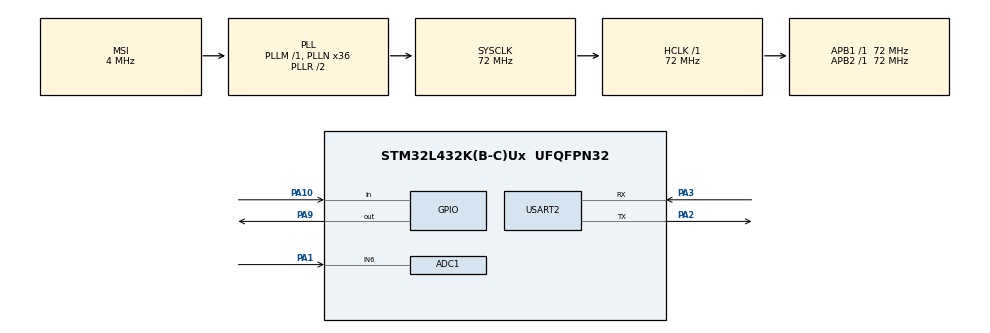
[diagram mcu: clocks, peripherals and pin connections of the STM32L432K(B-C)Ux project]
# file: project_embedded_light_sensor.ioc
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ADC1.Channel-2\#ChannelRegularConversion=ADC_CHANNEL_6
ADC1.ContinuousConvMode=DISABLE
ADC1.NbrOfConversionFlag=1
ADC1.OffsetNumber-2\#ChannelRegularConversion=ADC_OFFSET_NONE
ADC1.Rank-2\#ChannelRegularConversion=1
ADC1.SamplingTime-2\#ChannelRegularConversion=ADC_SAMPLETIME_2CYCLES_5
ADC1.master=1
Mcu.Family=STM32L4
Mcu.Name=STM32L432K(B-C)Ux
Mcu.Package=UFQFPN32
NVIC.PriorityGroup=NVIC_PRIORITYGROUP_4
PA1.Signal=ADCx_IN6
PA10.Signal=GPIO_Input
PA2.Mode=Asynchronous
PA2.Signal=USART2_TX
PA3.Mode=Asynchronous
PA3.Signal=USART2_RX
PA9.Signal=GPIO_Output
ProjectManager.HeapSize=0x200
ProjectManager.StackSize=0x400
ProjectManager.TargetToolchain=MDK-ARM V5.32
RCC.ADCFreq_Value=32000000
RCC.AHBFreq_Value=72000000
RCC.APB1Freq_Value=72000000
RCC.APB1TimFreq_Value=72000000
RCC.APB2Freq_Value=72000000
RCC.APB2TimFreq_Value=72000000
RCC.CortexFreq_Value=72000000
RCC.HCLKFreq_Value=72000000
RCC.HSE_VALUE=8000000
RCC.HSI48_VALUE=48000000
RCC.HSI_VALUE=16000000
RCC.LSE_VALUE=32768
RCC.MSI_VALUE=4000000
RCC.PLLN=36
RCC.PLLSAI1N=16
RCC.SYSCLKFreq_VALUE=72000000
RCC.SYSCLKSource=RCC_SYSCLKSOURCE_PLLCLK
RCC.USBFreq_Value=32000000
RCC.VCOOutputFreq_Value=144000000
SH.ADCx_IN6.0=ADC1_IN6,IN6-Single-Ended
USART2.VirtualMode-Asynchronous=VM_ASYNC
VP_TIM2_VS_ClockSourceINT.Mode=Internal
board=custom

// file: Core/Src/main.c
/* USER CODE BEGIN Header */
/**
  ******************************************************************************
  * @file           : main.c
  * @brief          : Main program body
  ******************************************************************************
  * @attention
  *
  * <h2><center>&copy; Copyright (c) 2022 STMicroelectronics.
  * All rights reserved.</center></h2>
  *
  * This software component is licensed by ST under BSD 3-Clause license,
  * the "License"; You may not use this file except in compliance with the
  * License. You may obtain a copy of the License at:
  *                        opensource.org/licenses/BSD-3-Clause
  *
  ******************************************************************************
  */
/* USER CODE END Header */
#include "main.h"

/* USER CODE BEGIN Includes */
#include<stdio.h>
/* USER CODE END Includes */

ADC_HandleTypeDef hadc1;

TIM_HandleTypeDef htim2;

UART_HandleTypeDef huart2;

void SystemClock_Config(void);
static void MX_GPIO_Init(void);
static void MX_ADC1_Init(void);
static void MX_TIM2_Init(void);
static void MX_USART2_UART_Init(void);

int main(void)
{

  /* MCU Configuration--------------------------------------------------------*/

  /* Reset of all peripherals, Initializes the Flash interface and the Systick. */
  HAL_Init();

  /* Configure the system clock */
  SystemClock_Config();

  /* Initialize all configured peripherals */
  MX_GPIO_Init();
  MX_ADC1_Init();
  MX_TIM2_Init();
  MX_USART2_UART_Init();
  /* USER CODE BEGIN 2 */
		int AD_RES = 0;    // Calibrate The ADC On Power-Up For Better Accuracy
    HAL_ADCEx_Calibration_Start(&hadc1,ADC_SINGLE_ENDED);
		char buff[100]={0};

    // Read The Sensor Once To Get The Ambient Level
    // & Calculate The DutyCycle Multiplier
//    HAL_ADC_Start(&hadc1);
//    HAL_ADC_PollForConversion(&hadc1, 1);
//    AD_RES = HAL_ADC_GetValue(&hadc1);
		//HAL_UART_Transmit(&huart2,(uint8_t*)&AD_RES,sizeof(AD_RES),100);
  /* USER CODE END 2 */

  /* Infinite loop */
  /* USER CODE BEGIN WHILE */
  while (1)
  {
		// Start ADC Conversion
        HAL_ADC_Start(&hadc1);
       // Poll ADC1 Perihperal & TimeOut = 1mSec
        HAL_ADC_PollForConversion(&hadc1, 1);
       // Read The ADC Conversion Result & Map It To PWM DutyCycle
        AD_RES = HAL_ADC_GetValue(&hadc1);
				sprintf(buff,"%d\r\n",AD_RES);
				HAL_UART_Transmit(&huart2,(uint8_t*)&buff,sizeof(buff),100);
				if (AD_RES>1500 &&HAL_GPIO_ReadPin(GPIOA, GPIO_PIN_10)){

					 HAL_GPIO_WritePin(GPIOA, GPIO_PIN_9, GPIO_PIN_SET);
						HAL_Delay(5000); //memicing
				}
				else
				HAL_GPIO_WritePin(GPIOA, GPIO_PIN_9, GPIO_PIN_RESET);

//if(HAL_GPIO_ReadPin(GPIOA, GPIO_PIN_10)){
//	HAL_GPIO_WritePin(GPIOA, GPIO_PIN_9, GPIO_PIN_SET);
//	HAL_Delay(4000);
//}
//HAL_GPIO_WritePin(GPIOA, GPIO_PIN_9, GPIO_PIN_RESET);
        HAL_Delay(500);
    /* USER CODE END WHILE */

  }
}

void SystemClock_Config(void)
{
  RCC_OscInitTypeDef RCC_OscInitStruct = {0};
  RCC_ClkInitTypeDef RCC_ClkInitStruct = {0};

  /** Configure the main internal regulator output voltage
  */
  if (HAL_PWREx_ControlVoltageScaling(PWR_REGULATOR_VOLTAGE_SCALE1) != HAL_OK)
  {
    Error_Handler();
  }
  /** Initializes the RCC Oscillators according to the specified parameters
  * in the RCC_OscInitTypeDef structure.
  */
  RCC_OscInitStruct.OscillatorType = RCC_OSCILLATORTYPE_MSI;
  RCC_OscInitStruct.MSIState = RCC_MSI_ON;
  RCC_OscInitStruct.MSICalibrationValue = 0;
  RCC_OscInitStruct.MSIClockRange = RCC_MSIRANGE_6;
  RCC_OscInitStruct.PLL.PLLState = RCC_PLL_ON;
  RCC_OscInitStruct.PLL.PLLSource = RCC_PLLSOURCE_MSI;
  RCC_OscInitStruct.PLL.PLLM = 1;
  RCC_OscInitStruct.PLL.PLLN = 36;
  RCC_OscInitStruct.PLL.PLLP = RCC_PLLP_DIV7;
  RCC_OscInitStruct.PLL.PLLQ = RCC_PLLQ_DIV2;
  RCC_OscInitStruct.PLL.PLLR = RCC_PLLR_DIV2;
  if (HAL_RCC_OscConfig(&RCC_OscInitStruct) != HAL_OK)
  {
    Error_Handler();
  }
  /** Initializes the CPU, AHB and APB buses clocks
  */
  RCC_ClkInitStruct.ClockType = RCC_CLOCKTYPE_HCLK|RCC_CLOCKTYPE_SYSCLK
                              |RCC_CLOCKTYPE_PCLK1|RCC_CLOCKTYPE_PCLK2;
  RCC_ClkInitStruct.SYSCLKSource = RCC_SYSCLKSOURCE_PLLCLK;
  RCC_ClkInitStruct.AHBCLKDivider = RCC_SYSCLK_DIV1;
  RCC_ClkInitStruct.APB1CLKDivider = RCC_HCLK_DIV1;
  RCC_ClkInitStruct.APB2CLKDivider = RCC_HCLK_DIV1;

  if (HAL_RCC_ClockConfig(&RCC_ClkInitStruct, FLASH_LATENCY_4) != HAL_OK)
  {
    Error_Handler();
  }
}

static void MX_ADC1_Init(void)
{

  ADC_ChannelConfTypeDef sConfig = {0};

  /** Common config
  */
  hadc1.Instance = ADC1;
  hadc1.Init.ClockPrescaler = ADC_CLOCK_ASYNC_DIV1;
  hadc1.Init.Resolution = ADC_RESOLUTION_12B;
  hadc1.Init.DataAlign = ADC_DATAALIGN_RIGHT;
  hadc1.Init.ScanConvMode = ADC_SCAN_DISABLE;
  hadc1.Init.EOCSelection = ADC_EOC_SINGLE_CONV;
  hadc1.Init.LowPowerAutoWait = DISABLE;
  hadc1.Init.ContinuousConvMode = DISABLE;
  hadc1.Init.NbrOfConversion = 1;
  hadc1.Init.DiscontinuousConvMode = DISABLE;
  hadc1.Init.ExternalTrigConv = ADC_SOFTWARE_START;
  hadc1.Init.ExternalTrigConvEdge = ADC_EXTERNALTRIGCONVEDGE_NONE;
  hadc1.Init.DMAContinuousRequests = DISABLE;
  hadc1.Init.Overrun = ADC_OVR_DATA_PRESERVED;
  hadc1.Init.OversamplingMode = DISABLE;
  if (HAL_ADC_Init(&hadc1) != HAL_OK)
  {
    Error_Handler();
  }
  /** Configure Regular Channel
  */
  sConfig.Channel = ADC_CHANNEL_6;
  sConfig.Rank = ADC_REGULAR_RANK_1;
  sConfig.SamplingTime = ADC_SAMPLETIME_2CYCLES_5;
  sConfig.SingleDiff = ADC_SINGLE_ENDED;
  sConfig.OffsetNumber = ADC_OFFSET_NONE;
  sConfig.Offset = 0;
  if (HAL_ADC_ConfigChannel(&hadc1, &sConfig) != HAL_OK)
  {
    Error_Handler();
  }

}

static void MX_TIM2_Init(void)
{

  TIM_ClockConfigTypeDef sClockSourceConfig = {0};
  TIM_MasterConfigTypeDef sMasterConfig = {0};

  htim2.Instance = TIM2;
  htim2.Init.Prescaler = 0;
  htim2.Init.CounterMode = TIM_COUNTERMODE_UP;
  htim2.Init.Period = 4294967295;
  htim2.Init.ClockDivision = TIM_CLOCKDIVISION_DIV1;
  htim2.Init.AutoReloadPreload = TIM_AUTORELOAD_PRELOAD_DISABLE;
  if (HAL_TIM_Base_Init(&htim2) != HAL_OK)
  {
    Error_Handler();
  }
  sClockSourceConfig.ClockSource = TIM_CLOCKSOURCE_INTERNAL;
  if (HAL_TIM_ConfigClockSource(&htim2, &sClockSourceConfig) != HAL_OK)
  {
    Error_Handler();
  }
  sMasterConfig.MasterOutputTrigger = TIM_TRGO_RESET;
  sMasterConfig.MasterSlaveMode = TIM_MASTERSLAVEMODE_DISABLE;
  if (HAL_TIMEx_MasterConfigSynchronization(&htim2, &sMasterConfig) != HAL_OK)
  {
    Error_Handler();
  }

}

static void MX_USART2_UART_Init(void)
{

  huart2.Instance = USART2;
  huart2.Init.BaudRate = 115200;
  huart2.Init.WordLength = UART_WORDLENGTH_8B;
  huart2.Init.StopBits = UART_STOPBITS_1;
  huart2.Init.Parity = UART_PARITY_NONE;
  huart2.Init.Mode = UART_MODE_TX_RX;
  huart2.Init.HwFlowCtl = UART_HWCONTROL_NONE;
  huart2.Init.OverSampling = UART_OVERSAMPLING_16;
  huart2.Init.OneBitSampling = UART_ONE_BIT_SAMPLE_DISABLE;
  huart2.AdvancedInit.AdvFeatureInit = UART_ADVFEATURE_NO_INIT;
  if (HAL_UART_Init(&huart2) != HAL_OK)
  {
    Error_Handler();
  }

}

static void MX_GPIO_Init(void)
{
  GPIO_InitTypeDef GPIO_InitStruct = {0};

  /* GPIO Ports Clock Enable */
  __HAL_RCC_GPIOA_CLK_ENABLE();

  /*Configure GPIO pin Output Level */
  HAL_GPIO_WritePin(GPIOA, GPIO_PIN_9, GPIO_PIN_RESET);

  /*Configure GPIO pin : PA9 */
  GPIO_InitStruct.Pin = GPIO_PIN_9;
  GPIO_InitStruct.Mode = GPIO_MODE_OUTPUT_PP;
  GPIO_InitStruct.Pull = GPIO_NOPULL;
  GPIO_InitStruct.Speed = GPIO_SPEED_FREQ_LOW;
  HAL_GPIO_Init(GPIOA, &GPIO_InitStruct);

  /*Configure GPIO pin : PA10 */
  GPIO_InitStruct.Pin = GPIO_PIN_10;
  GPIO_InitStruct.Mode = GPIO_MODE_INPUT;
  GPIO_InitStruct.Pull = GPIO_NOPULL;
  HAL_GPIO_Init(GPIOA, &GPIO_InitStruct);

}

void Error_Handler(void)
{
  __disable_irq();
  while (1)
  {
  }
}

/************************ (C) COPYRIGHT STMicroelectronics *****END OF FILE****/
